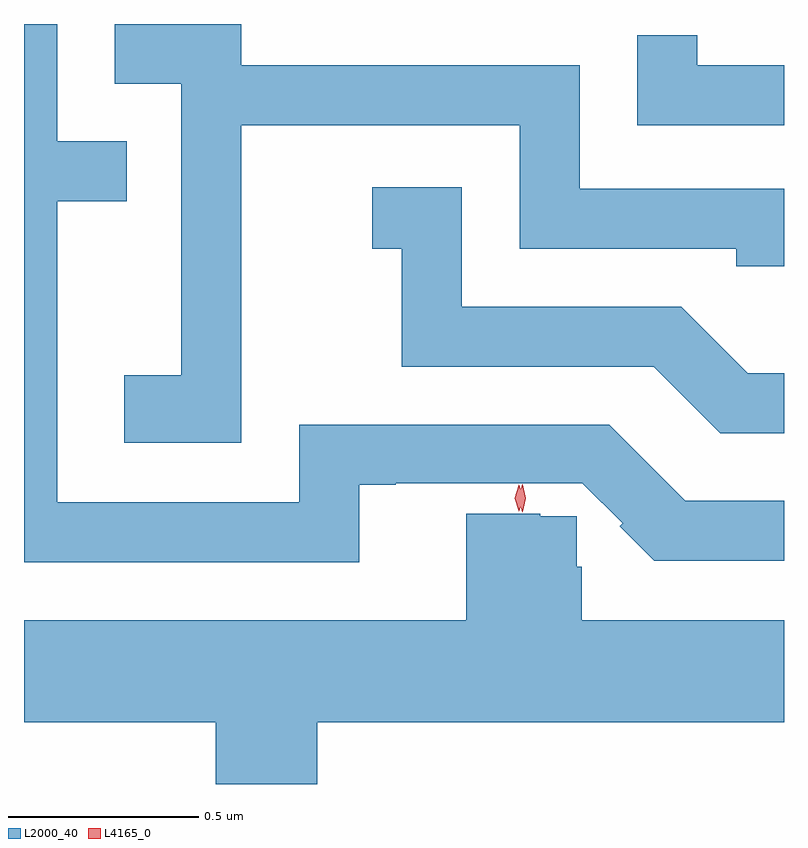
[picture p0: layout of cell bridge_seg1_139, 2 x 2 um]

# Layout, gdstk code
import gdstk
lib = gdstk.Library(unit=1e-6, precision=1e-09)
def P(c, l, *ps):  # polygons
    for p in ps: c.add(gdstk.Polygon(p, *l))
L2000_40 = (2000, 40)
L4165_0 = (4165, 0)

bridge_seg1_139 = lib.new_cell('bridge_seg1_139')
P(bridge_seg1_139, L2000_40, [(1388.379,904.641),(1388.475,904.641),(1388.475,904.645),(1388.966,904.645),(1389.072,904.539),(1389.065,904.531),(1389.155,904.441),(1389.497,904.441),(1389.497,904.599),(1389.237,904.599),(1389.037,904.799),(1388.221,904.799),(1388.221,904.594),(1387.584,904.594),(1387.584,905.386),(1387.768,905.386),(1387.768,905.544),(1387.584,905.544),(1387.584,905.853),(1387.497,905.853),(1387.497,904.436),(1388.379,904.436)],
  [(1388.069,905.586),(1388.801,905.586),(1388.801,905.261),(1389.371,905.261),(1389.371,905.216),(1389.497,905.216),(1389.497,905.419),(1388.959,905.419),(1388.959,905.744),(1388.069,905.744),(1388.069,905.853),(1387.736,905.853),(1387.736,905.696),(1387.911,905.696),(1387.911,904.929),(1387.761,904.929),(1387.761,904.751),(1388.069,904.751)],
  [(1389.497,905.744),(1389.269,905.744),(1389.269,905.823),(1389.111,905.823),(1389.111,905.586),(1389.497,905.586)],
  [(1389.497,904.934),(1389.402,904.934),(1389.227,905.109),(1388.649,905.109),(1388.649,905.424),(1388.413,905.424),(1388.413,905.261),(1388.491,905.261),(1388.491,904.951),(1389.154,904.951),(1389.329,904.776),(1389.497,904.776)],
  [(1388.269,904.016),(1389.497,904.016),(1389.497,904.284),(1388.965,904.284),(1388.965,904.425),(1388.951,904.425),(1388.951,904.557),(1388.855,904.557),(1388.855,904.564),(1388.661,904.564),(1388.661,904.284),(1387.497,904.284),(1387.497,904.016),(1388.001,904.016),(1388.001,903.853),(1388.269,903.853)])
P(bridge_seg1_139, L4165_0, [(1388.809,904.568),(1388.808,904.569),(1388.798,904.605),(1388.808,904.641),(1388.808,904.642),(1388.809,904.641),(1388.818,904.605),(1388.809,904.569)],
  [(1388.799,904.571),(1388.799,904.572),(1388.789,904.605),(1388.799,904.639),(1388.799,904.64),(1388.8,904.639),(1388.809,904.605),(1388.8,904.572)])

lib.write_gds('bridge_seg1_139.gds')
